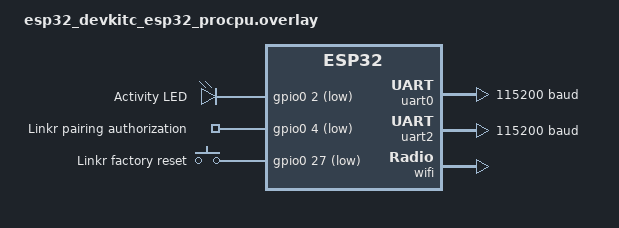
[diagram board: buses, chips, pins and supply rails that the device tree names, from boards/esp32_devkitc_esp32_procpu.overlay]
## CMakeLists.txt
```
cmake_minimum_required(VERSION 3.20.0)

# The Linkr Bee X1.0 board definition lives in boards/radxa/linkr_bee_x1_0, so
# the application root has to be searched as a board root for
# `west build -b linkr_bee_x1_0`. This has to happen before find_package(),
# which is where Zephyr resolves the board.
list(APPEND BOARD_ROOT "${CMAKE_CURRENT_SOURCE_DIR}")

# The module runs after the SoC is configured, before Zephyr collects its
# post-build commands. Keep the pinned Zephyr checkout unmodified.
list(APPEND EXTRA_ZEPHYR_MODULES "${CMAKE_CURRENT_SOURCE_DIR}/cmake/esp_simpleboot")
find_package(Zephyr REQUIRED HINTS $ENV{ZEPHYR_BASE})
project(linkr_ble_bridge)

if(CONFIG_SOC_SERIES_ESP32C3)
  include(cmake/esp32c3_hci_order.cmake)
endif()

# ESP32 (Xtensa) uses the same HCI driver; apply the same ordering fix.
if(CONFIG_SOC_SERIES_ESP32 AND NOT CONFIG_SOC_SERIES_ESP32C3)
  include(cmake/esp32c3_hci_order.cmake)
endif()

target_sources(app PRIVATE
  src/serial_session.c
  src/ble_peers.c
  src/target_binding.c
  src/bond_manager.c
  src/ble_security.c
  src/ble_nus.c
  src/ble_mgmt.c
  src/ble_uart_reliable.c
  src/main.c
  src/uart_autobaud.c
  src/uart_rmt_span.c
  src/uart_bulk_tx.c
  src/wifi.c
  src/ws_bridge.c
  # Board status LED, optocoupler switch and IR remote. Every file compiles to
  # stubs on boards whose devicetree does not describe the hardware, so the
  # command group exists everywhere and reports "unsupported" instead of the
  # firmware silently dropping the feature.
  src/ir_learn.c
  src/ir_nec.c
  src/linkr_aux.c
  src/linkr_ir.c
  src/linkr_opto.c
  src/linkr_prompt.c
  src/linkr_aiconf.c
  src/linkr_status_led.c
  src/linkr_ws2812.c
)
target_sources_ifdef(CONFIG_LINKR_BLE_BRIDGE_WATCHDOG app PRIVATE src/watchdog.c)

# HTTP service resources live in named iterable sections (WebSocket bridge).
zephyr_linker_sources(SECTIONS sections-rom.ld)
```

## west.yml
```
manifest:
  remotes:
    - name: zephyrproject-rtos
      url-base: https://github.com/zephyrproject-rtos

  projects:
    - name: zephyr
      remote: zephyrproject-rtos
      revision: v4.4.1
      import:
        name-allowlist:
          - hal_espressif
          - mbedtls
          - tf-psa-crypto
          # The ESP32-C5 controller implements its Security Manager crypto with
          # CONFIG_ESP32_BT_LE_CRYPTO_STACK_MBEDTLS, which Zephyr satisfies from
          # the legacy mbedTLS modules vendored by hostap
          # (modules/mbedtls/legacy_support.cmake). Without this module the C5
          # build fails to configure and pairing cannot be enabled at all.
          - hostap

  self:
    path: linkr-bee
```

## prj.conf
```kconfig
CONFIG_BT=y
CONFIG_BT_PERIPHERAL=y
CONFIG_BT_DEVICE_NAME="Linkr Bee"
CONFIG_BT_DEVICE_NAME_MAX=29
CONFIG_BT_DEVICE_APPEARANCE=833
CONFIG_BT_MAX_CONN=2
CONFIG_ESP32_BT_CTLR_LE_MAX_CONN=2
CONFIG_ESP32_BT_CTLR_LE_MAX_ACT=3
CONFIG_BT_ID_MAX=2
CONFIG_BT_ZEPHYR_NUS=y
# The upstream default NUS instance has unencrypted permissions. Use our
# encrypted NUS instance together with Management and Reliable UART.
CONFIG_BT_ZEPHYR_NUS_DEFAULT_INSTANCE=n
CONFIG_BT_SMP=y
CONFIG_BT_SMP_APP_PAIRING_ACCEPT=y
# Replacing a lost host key is permitted only through our GPIO1 pairing gate.
CONFIG_BT_SMP_ALLOW_UNAUTH_OVERWRITE=y
CONFIG_BT_SMP_SC_PAIR_ONLY=y
CONFIG_BT_SMP_MIN_ENC_KEY_SIZE=16
CONFIG_BT_BONDABLE=y
CONFIG_BT_BONDING_REQUIRED=y
CONFIG_BT_MAX_PAIRED=8
CONFIG_BT_KEYS_OVERWRITE_OLDEST=n
CONFIG_BT_SETTINGS=y
CONFIG_BT_GAP_AUTO_UPDATE_CONN_PARAMS=n

CONFIG_SERIAL=y
CONFIG_UART_INTERRUPT_DRIVEN=y
CONFIG_UART_USE_RUNTIME_CONFIGURE=y
# Keep LAN forwarding and log capture running after a BLE session ends on
# every board. Disconnected BLE delivery is best-effort; it cannot stall UART.
CONFIG_LINKR_BLE_BRIDGE_UART_RX_DROP_NO_CONN=y
CONFIG_GPIO=y
CONFIG_HWINFO=y

# BLE identity and Linkr configuration use Zephyr settings. Linkr ships one
# firmware containing BLE, WiFi, WebDAV, and the WebSocket bridge.
CONFIG_SETTINGS=y
CONFIG_NVS=y
CONFIG_FLASH=y
CONFIG_FLASH_MAP=y

# ESP32-C3 controller reports 12 ACL packets; match host contexts to avoid
# resource mismatch that can trigger BLE controller asserts.
CONFIG_BT_BUF_ACL_TX_COUNT=12
# Exchange a 247-byte ATT MTU and carry each 244-byte ATT value in one
# 251-byte LE Data Length packet. Reliable UART then fits its 12-byte header
# and 232-byte payload into one GATT write/indication when the central agrees.
CONFIG_BT_L2CAP_TX_MTU=247
CONFIG_BT_BUF_ACL_TX_SIZE=251
CONFIG_BT_BUF_ACL_RX_SIZE=251
CONFIG_BT_DATA_LEN_UPDATE=y
CONFIG_BT_AUTO_DATA_LEN_UPDATE=y
# WiFi coexistence increases the Bluetooth host TX call depth. The default
# 1024-byte stack can corrupt bt_tx_processor while notifications are sent.
CONFIG_BT_TX_PROCESSOR_STACK_SIZE=2048
# Management commands can save NVS settings and start/stop network services
# from the Bluetooth receive workqueue. The 1200-byte Zephyr default overflows
# on @s on while persisting the WebSocket setting.
CONFIG_BT_RX_STACK_SIZE=2048

# Increase net_mgmt event queue so WiFi connect/disconnect events are not
# dropped behind scan results.
CONFIG_NET_MGMT_EVENT_QUEUE_SIZE=20

# The ESP32 driver's fast connect scan can miss an AP that a user-initiated
# scan has just found. Scan every 2.4 GHz channel and select the strongest
# matching BSSID instead.
CONFIG_ESP32_WIFI_STA_SCAN_ALL=y

# linkr_wifi owns DHCP startup after NET_EVENT_WIFI_CONNECT_RESULT. Disable
# the driver's automatic DHCP path so that it also emits that event instead of
# silently bypassing the application's connection state machine.
CONFIG_ESP32_WIFI_STA_AUTO_DHCPV4=n

# ESP32-C3 shares RAM between WiFi and BLE. This bridge needs modest network
# throughput, so keep WiFi pools bounded and leave enough memory for BLE ACL
# traffic while scanning/connecting.
CONFIG_ESP32_WIFI_STATIC_RX_BUFFER_NUM=6
CONFIG_ESP32_WIFI_DYNAMIC_RX_BUFFER_NUM=12
CONFIG_ESP32_WIFI_DYNAMIC_TX_BUFFER_NUM=12
CONFIG_ESP32_WIFI_RX_MGMT_BUF_NUM_DEF=4
CONFIG_ESP32_WIFI_MGMT_SBUF_NUM=8

# The HTTP/WebSocket bridge uses a TCP listening socket. HTTP_SERVER enables
# the socket API but does not select the TCP transport itself.
CONFIG_NET_TCP=y
# Linkr uses DHCPv4, IPv4 WebDAV targets, and an IPv4-bound WebSocket service.
# Do not reserve IPv6 neighbor, route, and protocol state that has no consumer.
CONFIG_NET_IPV6=n

# NET_SOCKETS_SERVICE permanently owns one eventfd and the HTTP server needs a
# second one for start/stop wakeups.  The Zephyr default pool only contains one.
CONFIG_ZVFS_EVENTFD_MAX=2

CONFIG_MAIN_STACK_SIZE=4096
CONFIG_SYSTEM_WORKQUEUE_STACK_SIZE=8192

CONFIG_LOG=y
CONFIG_LOG_MODE_DEFERRED=y
CONFIG_LOG_DEFAULT_LEVEL=3

# Keep normal WiFi lifecycle messages without the verbose driver traces used
# during association debugging. A diagnostic build can override this to DBG.
CONFIG_WIFI_LOG_LEVEL_INF=y

# Fail deterministically if a thread ever exhausts its stack instead of
# returning through corrupted memory. Thread names also make fatal logs useful.
CONFIG_STACK_SENTINEL=y
CONFIG_THREAD_NAME=y
```

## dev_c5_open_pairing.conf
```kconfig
# Development only: explicitly add this fragment with EXTRA_CONF_FILE for
# ESP32-C5 DevKitC bench testing. Never include it in production builds.
# Any nearby host can pair and access UART and management services; link
# encryption, Secure Connections and bonding are still required.
CONFIG_LINKR_BLE_BRIDGE_PAIRING_GPIO_AUTH=n
```

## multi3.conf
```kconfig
# Experimental ESP32-C3 profile: runtime SRAM/WiFi acceptance still required.
CONFIG_BT_MAX_CONN=3
CONFIG_ESP32_BT_CTLR_LE_MAX_CONN=3
CONFIG_ESP32_BT_CTLR_LE_MAX_ACT=4
CONFIG_LINKR_BLE_BRIDGE_PEER_TX_QUEUE_DEPTH=8
```

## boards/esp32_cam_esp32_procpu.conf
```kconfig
# ESP32-CAM (ESP32-S module, Xtensa dual-core) board-specific overrides.
# prj.conf defaults are tuned for ESP32-C3; the classic ESP32 has the same
# dram0 + dram1 split as the WROOM-32, plus one exposed UART (UART0).
# The memory tuning below is shared with boards/esp32_devkitc_esp32_procpu.conf;
# keep the two files in step when changing DRAM-critical values.
CONFIG_LINKR_BLE_BRIDGE_WEBDAV=n

# UART0 is the bridge port on this board, not a debug port. The Zephyr console
# and the UART log backend both pick the same physical UART (chosen
# zephyr,console = &uart0 in the board DTS), so every LOG_* record was written
# on the same wire the target reads as terminal input. On this CAM that put
# bytes such as "m<inf> linkr_ble_bridge ..." into the target's shell, raced
# the bridge's bulk UART writes, and made BLE input/output look broken even
# though the bridge itself was fine. Turn both off so the bridge owns the port
# exclusively. Diagnostics stay available over BLE (@i?), and the ROM
# bootloader still prints during flashing/reset.
CONFIG_UART_CONSOLE=n
CONFIG_LOG_BACKEND_UART=n
CONFIG_BOOT_BANNER=n

# ESP32-CAM has a 2 MiB PSRAM part. Enable it and select the matching type;
# the size comes from the psram0 node in the board overlay. The WebDAV
# staging ring and upload chunk live in .ext_ram.bss (see src/wifi.c), so the
# large buffers cost PSRAM instead of the very tight internal DRAM.
CONFIG_ESP_SPIRAM=y
CONFIG_ESP_SPIRAM_SIZE=2097152
CONFIG_SPIRAM_TYPE_ESPPSRAM16=y
CONFIG_LINKR_BLE_BRIDGE_WEBDAV=y
CONFIG_LINKR_BLE_BRIDGE_LOG_RING_SIZE=262144
# 128 KiB covers ~11 s at 115200. Upload every 2 s, and PUT 16 KiB at a time
# so a burst is drained in a few HTTP requests instead of many small files.
CONFIG_LINKR_BLE_BRIDGE_WEBDAV_UPLOAD_INTERVAL_MS=2000
CONFIG_LINKR_BLE_BRIDGE_WEBDAV_UPLOAD_CHUNK=32768

# Let the peripheral start the ATT MTU exchange. A client that discovers the
# services at the 23-byte default and then writes terminal input immediately
# would otherwise have its first reliable-UART frame rejected as too long,
# which some clients treat as an ambiguous delivery and latch until reconnect.
CONFIG_BT_GATT_CLIENT=y

# Keep the reliable UART service. The shipped web client reads its STATE
# characteristic during connect and aborts with "No Services matching UUID
# 4c4b0010..." when it is absent, so removing it does not fall back to NUS --
# it makes the device unusable in that client. Instead the firmware fixes the
# states that used to wedge writes: a half-written frame, a sequence mismatch
# and a full TX queue no longer kill the session.
CONFIG_LINKR_BLE_BRIDGE_RELIABLE_UART=y

# BT ACL TX buffers. This used to be 4 to save DRAM1, but the ESP32 controller
# reports 10 available ACL packets, so Zephyr warned on every boot
# ("<wrn> bt_hci_core: Num of Controller's ACL packets != ACL bt_conn_tx
# contexts (10 != 4)"). Match the controller at 10; prj.conf ships 12.
CONFIG_BT_BUF_ACL_TX_COUNT=10

# ── M4: let the peripheral ask for a 7.5–15 ms connection interval ──────────
# prj.conf:22 ships CONFIG_BT_GAP_AUTO_UPDATE_CONN_PARAMS=n (Zephyr's own
# default is y), so this device never negotiates and the interval is whatever
# the central picked — measured steady at 37.5 ms. That interval is the
# per-ATT-write round trip for the reliable upstream path: BACKLOG A4 timed a
# write-with-response at a median of 178 ms (min 133 / max 223) = 4.75 of those
# intervals, i.e. 1.0-1.4 KiB/s upstream. Turning the auto-update back on makes
# conn.c's deferred_work() (conn.c:2297, runs 5 s after each connect, up to 3
# retries) emit a LE Connection Parameter Request carrying the values below.
#
# 6/12 are in 1.25 ms units = 7.5-15 ms, the Kconfig floor (range starts at 6).
# LATENCY is left at its default 0 — a non-zero latency multiplies this same
# round trip by (1+latency), which is the opposite of the change. TIMEOUT is
# set in its own block below.
#
# Acceptance risk to watch, not a reason to skip it: linkr_uart_write() has no
# retry — main.c:1445 refuses the whole write with -ENOMEM and counts it in
# "@info queue dropped" when the 16-deep upstream queue is full. A faster air
# rate therefore only pays off if UART (11520 B/s at 115200) keeps up, so the
# post-flash check must include a bulk upstream run and a @i? dropped= compare.
CONFIG_BT_GAP_AUTO_UPDATE_CONN_PARAMS=y
CONFIG_BT_PERIPHERAL_PREF_MIN_INT=6
CONFIG_BT_PERIPHERAL_PREF_MAX_INT=12

# ── M4b: the supervision timeout has to outlive a stalled device ────────────
# The interval above is what the link costs; TIMEOUT is how long the central
# waits for this device to show up before declaring it dead. Zephyr's default
# is 42 x 10 ms = 420 ms, and BlueZ caches it and then creates the link from
# that cache verbatim — measured directly: editing
# /var/lib/bluetooth/<adapter>/<peer>/info (`[ConnectionParameters] Timeout`)
# from 42 to 600 changed the next connection from 420 ms to 6000 ms at the
# same 15 ms interval, with no re-pair and no other change.
#
# 420 ms is shorter than a hiccup. Measured during a ZMODEM run on the desk
# unit, the last ATT data landed at 00:49:09.834 and the controller reported
# `Connection Timeout (0x08)` at 00:49:10.277 — 443 ms later, exactly the
# budget — and the earlier drop at 00:33:52 was the same shape. Two 76 s
# round trips then ran clean once the value was 6 s. Raising it here is what
# makes that fix survive the host it is plugged into, instead of depending on
# a cache line somebody edited once.
#
# 800 = 8 s, the value boards/esp32c5_devkitc_esp32c5_hpcore.conf already
# ships: the ESP32 shares its radio with WiFi too, so a scan/connect window
# silencing BLE for ~5 s must not be read as a dead link. Still clears the
# spec floor for this interval range (> (1+latency) * max_interval * 2 =
# 30 ms; Kconfig.gatt:56) and the 32 s ceiling. What it costs: a link that
# really is gone is only reported dead after 8 s instead of 0.42 s, and a
# Linux host keeps the old value in that info file until the cache is
# refreshed — re-pair (or delete the cache entry) after flashing.
#
# ⚠ This one line fixes THIS board only, and the other boards need it too.
# `esp32c3_supermini`, `esp32c3_devkitc` and `esp32c3_devkitm` still ship
# Zephyr's default 42 = 420 ms, CI builds all three, and a file transfer is
# exactly the traffic that does not survive it: ZMODEM is a sustained bulk
# burst, the device spends it writing UART at 115200, and any window over
# 420 ms in which it does not answer a connection event is reported as
# `Connection Timeout (0x08)` with the link gone mid-transfer. Measured here
# on this board before the fix — last ATT data 00:49:09.834, disconnect
# 00:49:10.277, i.e. 443 ms later — and the same value now reads
# `Supervision timeout: 8000 msec (0x0320)` after the flash. The C3 rows are
# deliberately left untouched by this change because only WROOM-32 was
# measured end to end; the fix for them is the same single line, and it
# should be verified there the same way (a ZMODEM round trip twice in a row)
# rather than assumed from this board's result.
CONFIG_BT_PERIPHERAL_PREF_TIMEOUT=800

# Report heap headroom in "@i?" ("@info heap free=… used=… peak=…"). The system
# heap is DRAM0's largest single allocation and had no runtime report, so
# sizing HEAP_MEM_POOL_SIZE was guesswork. Costs code size only, no RAM.
CONFIG_SYS_HEAP_RUNTIME_STATS=y

# ESP32 WiFi pools — conservative to fit DRAM0.
CONFIG_ESP32_WIFI_STATIC_RX_BUFFER_NUM=5
CONFIG_ESP32_WIFI_DYNAMIC_RX_BUFFER_NUM=8
CONFIG_ESP32_WIFI_DYNAMIC_TX_BUFFER_NUM=8
CONFIG_ESP32_WIFI_RX_MGMT_BUF_NUM_DEF=3
CONFIG_ESP32_WIFI_MGMT_SBUF_NUM=6

# ── The cap that actually held LAN concurrency at one client (BACKLOG M10) ───
# Not a cut — 4 is Zephyr's own `default 4` and the C3 build ships it too — but
# raising WS_BRIDGE_MAX_CLIENTS to 2 on its own does nothing, and the failure is
# silent from the app's point of view. Two places in Zephyr clamp on it:
#
#   tcp.c:3780        if (backlog > CONFIG_NET_MAX_CONN) backlog = CONFIG_NET_MAX_CONN;
#   connection.c:404  conn_get_unused() == NULL -> -ENOENT,
#                     "Not enough connection contexts. Consider increasing CONFIG_NET_MAX_CONN."
#
# A raw TCP probe made this concrete: exactly one connection to :80 succeeded,
# the second was refused with ECONNREFUSED at the SYN — before any HTTP slot was
# ever considered — and closing the first immediately freed the slot again. That
# is 4 conn entries minus listen + WiFi/DNS UDP bindings leaving room for one.
# 8 is Zephyr's `default 8 if NET_IPV6 && NET_IPV4`. Cost: conns[] is 176 B for
# 4 entries (44 B each) in DRAM0, so 4->8 is +176 B.
CONFIG_NET_MAX_CONN=8

# Thread stacks — reduced for the DRAM1 noinit budget (only 6772B free once
# the three drop-point buffers were restored). Restored where stack risk
# outweighed cost: MAIN and BT_TX_PROCESSOR back to prj.conf's 4096/2048.
# SYSTEM_WORKQUEUE stays 4096 (prj.conf wants 8192) because +4096 would not
# fit alongside these two; BT_RX / WIFI_CONNECT stay at their reduced 2048.
CONFIG_MAIN_STACK_SIZE=4096
CONFIG_SYSTEM_WORKQUEUE_STACK_SIZE=4096
CONFIG_BT_TX_PROCESSOR_STACK_SIZE=2048
CONFIG_BT_RX_STACK_SIZE=2048
CONFIG_LINKR_BLE_BRIDGE_WIFI_CONNECT_STACK=2048

# ── Not a cut: M3's one measured reboot risk (BACKLOG M3/M10) ────────────────
# BT long workqueue 1400 -> 2048. 1400 is Zephyr's default and C3 uses it too,
# but M3 measured it at 83% used / 236 B unused, holding steady across all 12
# reports while burning 41% CPU on real BLE traffic. Unlike the logging stack
# (analyzer artifact, see M3), this number does not move with load, so 236 B is
# what is left for a deeper nest in bt_conn/bt_adv — an overflow here reboots
# the device mid-connection. +648 B DRAM1 (bt_lw_stack_area 1408 -> 2056).
# The other two stacks M3 flagged are deliberately NOT grown: logging's 91% is
# self-inflicted by LOG_PRINTK routing analyzer reports through it (28% before
# the first report) and ble_to_uart's 1024 is hardcoded in src/main.c:1780.
CONFIG_BT_LONG_WQ_STACK_SIZE=2048

# UART RX ring: restored to the C3 baseline 16384 (~1.44 s at 115200, up from
# 8192 / ~720 ms). This is the buffer that holds what the user actually
# watches — Kconfig's own help: "Larger values reduce dropped boot-log bytes
# when the SBC emits a burst faster than BLE can transmit."
#
# ⚠ This is paid for out of DRAM0, not out of "DRAM1 noinit", and the reason
# this note used to give for the opposite is not sound. It said the earlier
# note about DRAM1 noinit was stale because `nm uart_rx_storage` lands at a
# DRAM0 address (0x3ffc…). But `nm` can only see the name this change
# introduces, and this change is what puts it in DRAM0 — so that reading
# cannot say anything about where the array used to live. The array it
# replaced (`_ring_buffer_data_uart_rx_ring`) came from RING_BUF_DECLARE and
# was `__noinit`, and the ESP32 linker script links the output section
# `.dram0.noinit` — despite the name — into `dram1_0_seg` at 0x3ffe8000. The
# built map spells both regions out:
#
#   dram0_0_seg   0x3ffbdb5c   0x000224a4   (140452 B)   .bss/.data
#   dram1_0_seg   0x3ffe8000   0x00018000   ( 98304 B)   .dram0.noinit
#
# A sibling RING_BUF_DECLARE in the same build confirms it end to end: the
# WebDAV log ring's backing array sits at 0x3ffff140, i.e. inside dram1. So
# the old note was right and this change spends DRAM0. Measured with
# `west build -p always -b esp32_devkitc/esp32/procpu` on this tree, against
# the same board and app at 90285d5:
#
#   dram0_0_seg  112556 / 140452 B (80.14%, 27896 B free)  ->  138388 (98.53%, 2064 B free)
#   dram1_0_seg   89052 /  98304 B (90.59%,  9252 B free)  ->   95040 (96.68%, 3264 B free)
#   FLASH          834080 / 4194048 B (19.89%)             ->  838864 (20.00%)
#
# (DRAM1 grows over this range too, but not from these buffers: the baseline
# restore raises CONFIG_BT_*_TX_COUNT 4->10 and several stacks, and those are
# what lands in noinit. DRAM0 was the region with more headroom before the
# change — 27896 B free against DRAM1's 9252 — it is the one these buffers
# spend, and it ends the PR 2 KB from not linking.)
# Trade-off recorded in BACKLOG M6/M9: LOG_BUFFER_SIZE 1024→8192 (+7168 DRAM0)
# cannot ride along — 8192+7168 = 15360 > 14288. The ring won because the
# SBC serial stream is the product; the log buffer only loses firmware
# diagnostics (measured: 27 records per 15 s at 1024).
# 14336 rather than 16384: the decoupled BLE queue below takes 8 x 234 B
# (1872 B) out of the same DRAM0 .bss. 14 KiB is still 1.24 s at 115200, and
# the UART thread no longer stops draining while an indication waits.
CONFIG_LINKR_BLE_BRIDGE_UART_RX_BUFFER_SIZE=20480

# The single UART-to-BLE thread used to block in the Reliable UART
# indication, so a slow phone also starved a LAN-only TUI/Web client. Stage
# the BLE copy in a small queue and send it from its own thread; the UART ring
# keeps draining. If the queue fills, the sender disconnects the central after
# the in-flight chunk so it resynchronises instead of losing a sequence number.
CONFIG_LINKR_BLE_BRIDGE_BLE_TX_DECOUPLE=y

# Upstream packet queue (BLE/WS RX -> UART): Kconfig default 8 overruns when
# UART is busy; 16 costs +1968B (246B per bridge_packet). Those 1968 B are
# DRAM0, not "DRAM1 noinit": the same change replaces K_MSGQ_DEFINE's
# __noinit store with a .bss one in src/main.c (see the comment on
# ble_to_uart_storage there), and .bss is dram0_0_seg. The queue's storage
# therefore also migrated regions, which is why the DRAM0 line in the measured
# pair above moves by more than the buffer sizes alone suggest.
CONFIG_LINKR_BLE_BRIDGE_BLE_TO_UART_QUEUE_DEPTH=32

# BACKLOG M5: the bridge can follow the SBC instead of making it match us.
# The board ships UART_BAUD_RATE=115200 while Kconfig's own help lists 1500000
# / 921600 / 1000000 as typical SBC console rates, so a console swap is a
# mismatch waiting to happen. The RMT receiver measures a whole burst of runs
# on RXD (see src/uart_rmt_span.c), software decides what to apply. Keep this
# opt-in in the committed build; the local validation unit enables it through
# an out-of-tree EXTRA_CONF_FILE. The ESP32-CAM has no key, so only @a can
# start a pass; the detector never follows the line at boot.
CONFIG_LINKR_BLE_BRIDGE_UART_AUTOBAUD=n

# Fill the UART FIFO in one write instead of one byte per uart_poll_out().
# The poll_out path writes a byte at a time, and its whole body on this part is
# 50 bytes of code with the FIFO-full spin inside it:
#
#     c: l32i.n  a8, a9, 28     ; read UART status
#    1b: extui   a8, a8, 16, 8  ; txfifo_cnt
#    1e: beqi    a8, 128, c     ; FIFO full -> re-read, forever
#
# The FIFO is 128 bytes and a BLE packet is up to 244, so every full packet is
# 244 trips through that function (plus ~8 instructions of caller scaffolding
# each): 244 api calls, 244 status reads, 244 single-byte writes, 116 of them
# spinning. The bulk writer offers the FIFO everything it can take per call, so
# that per-packet overhead drops from 244 round trips to a handful.
#
# What this is NOT: a faster port. A 244-byte packet is 21.2 ms of line time at
# 115200 and no firmware change moves that — 11520 B/s is the link's ceiling.
# The win is the CPU spent on bookkeeping around the wire, nothing more. The
# bridge thread is priority 7 (preemptive) and the BLE threads are -1
# (cooperative), i.e. higher priority in Zephyr's ordering, so they preempt it
# rather than the reverse; this change is not needed to keep them fed.
#
# ⚠ Enable only together with a transfer test: it is a change on a live TX
# path, and a stall there would show up as a hang, not in `@info queue
# dropped`, which only counts the queue in front of the UART.
CONFIG_LINKR_BLE_BRIDGE_UART_BULK_TX=y

# Log level: WARN, not the ERR-only setting this board shipped with while it
# was memory constrained. Log strings live in flash (irom/drom were 96% free)
# and the deferred log buffer stays at its existing size, so this costs no
# DRAM — but it makes the upstream drop report (LOG_WRN in linkr_uart_write)
# visible again instead of silent.
CONFIG_LOG_DEFAULT_LEVEL=2
CONFIG_WIFI_LOG_LEVEL_ERR=y

# Allow chip revision 1 (unsupported by Espressif but functional).
CONFIG_ESP32_USE_UNSUPPORTED_REVISION=y

# The ESP32-CAM has no pairing key. Keep the GPIO gate off; a build that wires
# a key to a free pin can add a linkr-pairing alias and set this to y. Existing
# bonds reconnect through the saved LTK either way.
CONFIG_LINKR_BLE_BRIDGE_PAIRING_GPIO_AUTH=n

# Advertise Linkr Bee XXXX, where XXXX is the last four hex digits of the
# factory hardware MAC (for example 58:BF:25:33:07:8C -> 078C). The hardware
# MAC does not change across boots or a factory reset; @n can override the name.
CONFIG_LINKR_BLE_BRIDGE_BLE_NAME_FROM_MAC=y

# Persist WiFi credentials and BLE bonds across reboots.
CONFIG_LINKR_BLE_BRIDGE_PERSIST_CREDENTIALS=y

# Bypass ESP32 WiFi/BT heap auto-sum check.
# System heap stays at 52000: raising it to 65536 bought 13.5KB of speculative
# runtime slack (no OOM evidence either way) but it was DRAM0 that had to pay
# for relocating the queue and ring stores out of DRAM1, and DRAM1 was the
# region at 98% with every pending restoration (WiFi pools, system workqueue,
# ACL count) waiting on it. Re-measure runtime heap usage before raising this.
CONFIG_HEAP_MEM_POOL_SIZE=49152
CONFIG_HEAP_MEM_POOL_IGNORE_MIN=y

# HTTP server — two concurrent clients, not one. This was cut to 1 to fit
# DRAM0, and M3/BACKLOG M10 established that it is a HARD limit rather than a
# queue: Zephyr's http server hands each accepted socket a slot from a static
# clients[] array and, when the slots run out, does
#
#     if (!found_slot) { LOG_DBG("No free slot found."); zsock_close(new_socket); }
#
# (http_server_core.c, in the accept branch). So a second browser tab, or the
# Rust CLI while the web frontend is open, is accepted and then instantly
# dropped. HTTP_SERVER_MAX_CLIENTS and WEBSOCKET_MAX_CONTEXTS both default to
# this value (Kconfig:417/420), so one line moves all three — no separate knobs.
#
# Cost taken off the ELF before the change: clients[] 2160 (holds the per-client
# tx_buf), contexts[] 888, server_ctx 1392 (its clients[] and fds[] both grow),
# ws_handler_threads 160 => +5580 DRAM0, plus ws_client_stacks 4096 -> 8192 in
# DRAM1. See BACKLOG M10 for the measured post-build margins. Consequence to
# keep in mind: DRAM0 is now spent, so LOG_BUFFER_SIZE 1024 -> 8192 (+7168) —
# the one cut with hard evidence of loss (27 records / 15 s) — still cannot
# land here and would have to reclaim first.
CONFIG_LINKR_BLE_BRIDGE_WS_BRIDGE_MAX_CLIENTS=2
# Per-client WS thread stack: this Kconfig's own default is 4096 and the
# board used to halve it to 2048 for DRAM1; restored to 4096 (+2048 DRAM1)
# because a stack overflow here reboots the device.
CONFIG_LINKR_BLE_BRIDGE_WS_BRIDGE_STACK=8192
# Per-client TX ring: Kconfig default 2048 (downlink window ~178ms at
# 115200); the 1024 setting halved it. clients[] lives in DRAM0 .bss, which
# had 27896B free at baseline, so this costs +1024B there.
CONFIG_LINKR_BLE_BRIDGE_WS_BRIDGE_CLIENT_BUFFER_SIZE=2048
CONFIG_LINKR_BLE_BRIDGE_MGMT_TX_QUEUE_DEPTH=16
# Management request stack: back to the C3 baseline / Kconfig default 4096.
# @i? / @s? / @w? / @d? all run on this thread; 2048 was a DRAM1 cut and M3
# never measured it (the 1024 B log buffer truncated the watermark report), so
# restore on the side of safety: a stack overflow here would take out command
# handling. +2048 DRAM1 -> 8000 B free.
CONFIG_LINKR_BLE_BRIDGE_MGMT_REQUEST_STACK=4096

# With the WS stacks and queue backing stores in PSRAM, DRAM1 has room for the
# Bluetooth host and management stacks. These were the tightest consumers on
# the path that used to drop links under load; give them measured headroom
# instead of spending the freed space on another buffer.
CONFIG_BT_RX_STACK_SIZE=4096
CONFIG_BT_HCI_TX_STACK_SIZE_WITH_PROMPT=y
CONFIG_BT_HCI_TX_STACK_SIZE=2048
CONFIG_LOG_PROCESS_THREAD_STACK_SIZE=2048
CONFIG_LINKR_BLE_BRIDGE_MGMT_REQUEST_STACK=6144

# The hardware fallback fired during WiFi/BLE startup on this board (reset
# cause 0x8) even though the per-task channels had not expired. The hardware
# watchdog timeout is TASK_WDT_MIN_TIMEOUT (5 s) + this delay; use the largest
# supported delay (10 s, so 15 s total) instead of the 5 s default.
CONFIG_TASK_WDT_HW_FALLBACK_DELAY=10000

# Ask web/TUI clients to use NUS on this board. The reliable service stays
# compiled so old clients still connect, but the advertised capability lets a
# dual-transport client choose the raw pipe without guessing from the name.
CONFIG_LINKR_BLE_BRIDGE_PREFER_NUS=y
```

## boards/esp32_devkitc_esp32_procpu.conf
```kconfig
# ESP32-DevKitC (Xtensa dual-core) board-specific overrides.
#
# Novice-PG self-maintained WROOM configuration. Version numbers track the
# official release line, but this board's buffers restore the pre-1.1.5 sizes;
# see docs/SELF-MAINTAINED.md. Other boards are not affected.
#
# Zephyr 4.5 uses 8 KiB UART capture, eight queued chunks per BLE peer, and
# 2 KiB per LAN client on this self-maintained build. Historical 4.4 memory
# measurements below describe the earlier larger buffers; runtime
# burst/coexistence validation is still needed.
# prj.conf defaults are tuned for ESP32-C3; Xtensa ESP32 has different DRAM
# layout (dram0 + dram1) and needs tighter buffer limits.

# Disable WebDAV to save ~12KB noinit (LOG_RING + UPLOAD_STACK).
CONFIG_LINKR_BLE_BRIDGE_WEBDAV=n

# BT ACL TX buffers. This used to be 4 to save DRAM1, but the ESP32 controller
# reports 10 available ACL packets, so Zephyr warned on every boot
# ("<wrn> bt_hci_core: Num of Controller's ACL packets != ACL bt_conn_tx
# contexts (10 != 4)"). Match the controller at 10; prj.conf ships 12.
CONFIG_BT_BUF_ACL_TX_COUNT=10

# ── M4: let the peripheral ask for a 7.5–15 ms connection interval ──────────
# prj.conf:22 ships CONFIG_BT_GAP_AUTO_UPDATE_CONN_PARAMS=n (Zephyr's own
# default is y), so this device never negotiates and the interval is whatever
# the central picked — measured steady at 37.5 ms. That interval is the
# per-ATT-write round trip for the reliable upstream path: BACKLOG A4 timed a
# write-with-response at a median of 178 ms (min 133 / max 223) = 4.75 of those
# intervals, i.e. 1.0-1.4 KiB/s upstream. Turning the auto-update back on makes
# conn.c's deferred_work() (conn.c:2297, runs 5 s after each connect, up to 3
# retries) emit a LE Connection Parameter Request carrying the values below.
#
# 6/12 are in 1.25 ms units = 7.5-15 ms, the Kconfig floor (range starts at 6).
# LATENCY is left at its default 0 — a non-zero latency multiplies this same
# round trip by (1+latency), which is the opposite of the change. TIMEOUT is
# set in its own block below.
#
# Acceptance risk to watch, not a reason to skip it: linkr_uart_write() has no
# retry — main.c:1445 refuses the whole write with -ENOMEM and counts it in
# "@info queue dropped" when the 16-deep upstream queue is full. A faster air
# rate therefore only pays off if UART (11520 B/s at 115200) keeps up, so the
# post-flash check must include a bulk upstream run and a @i? dropped= compare.
CONFIG_BT_GAP_AUTO_UPDATE_CONN_PARAMS=y
CONFIG_BT_PERIPHERAL_PREF_MIN_INT=6
CONFIG_BT_PERIPHERAL_PREF_MAX_INT=12

# ── M4b: the supervision timeout has to outlive a stalled device ────────────
# The interval above is what the link costs; TIMEOUT is how long the central
# waits for this device to show up before declaring it dead. Zephyr's default
# is 42 x 10 ms = 420 ms, and BlueZ caches it and then creates the link from
# that cache verbatim — measured directly: editing
# /var/lib/bluetooth/<adapter>/<peer>/info (`[ConnectionParameters] Timeout`)
# from 42 to 600 changed the next connection from 420 ms to 6000 ms at the
# same 15 ms interval, with no re-pair and no other change.
#
# 420 ms is shorter than a hiccup. Measured during a ZMODEM run on the desk
# unit, the last ATT data landed at 00:49:09.834 and the controller reported
# `Connection Timeout (0x08)` at 00:49:10.277 — 443 ms later, exactly the
# budget — and the earlier drop at 00:33:52 was the same shape. Two 76 s
# round trips then ran clean once the value was 6 s. Raising it here is what
# makes that fix survive the host it is plugged into, instead of depending on
# a cache line somebody edited once.
#
# 800 = 8 s, the value boards/esp32c5_devkitc_esp32c5_hpcore.conf already
# ships: the ESP32 shares its radio with WiFi too, so a scan/connect window
# silencing BLE for ~5 s must not be read as a dead link. Still clears the
# spec floor for this interval range (> (1+latency) * max_interval * 2 =
# 30 ms; Kconfig.gatt:56) and the 32 s ceiling. What it costs: a link that
# really is gone is only reported dead after 8 s instead of 0.42 s, and a
# Linux host keeps the old value in that info file until the cache is
# refreshed — re-pair (or delete the cache entry) after flashing.
#
# ⚠ This one line fixes THIS board only, and the other boards need it too.
# `esp32c3_supermini`, `esp32c3_devkitc` and `esp32c3_devkitm` still ship
# Zephyr's default 42 = 420 ms, CI builds all three, and a file transfer is
# exactly the traffic that does not survive it: ZMODEM is a sustained bulk
# burst, the device spends it writing UART at 115200, and any window over
# 420 ms in which it does not answer a connection event is reported as
# `Connection Timeout (0x08)` with the link gone mid-transfer. Measured here
# on this board before the fix — last ATT data 00:49:09.834, disconnect
# 00:49:10.277, i.e. 443 ms later — and the same value now reads
# `Supervision timeout: 8000 msec (0x0320)` after the flash. The C3 rows are
# deliberately left untouched by this change because only WROOM-32 was
# measured end to end; the fix for them is the same single line, and it
# should be verified there the same way (a ZMODEM round trip twice in a row)
# rather than assumed from this board's result.
CONFIG_BT_PERIPHERAL_PREF_TIMEOUT=800

# Report heap headroom in "@i?" ("@info heap free=… used=… peak=…"). The system
# heap is DRAM0's largest single allocation and had no runtime report, so
# sizing HEAP_MEM_POOL_SIZE was guesswork. Costs code size only, no RAM.
CONFIG_SYS_HEAP_RUNTIME_STATS=y

# ESP32 WiFi pools — conservative to fit DRAM0.
CONFIG_ESP32_WIFI_STATIC_RX_BUFFER_NUM=5
CONFIG_ESP32_WIFI_DYNAMIC_RX_BUFFER_NUM=8
CONFIG_ESP32_WIFI_DYNAMIC_TX_BUFFER_NUM=8
CONFIG_ESP32_WIFI_RX_MGMT_BUF_NUM_DEF=3
CONFIG_ESP32_WIFI_MGMT_SBUF_NUM=6

# ── The cap that actually held LAN concurrency at one client (BACKLOG M10) ───
# Not a cut — 4 is Zephyr's own `default 4` and the C3 build ships it too — but
# raising WS_BRIDGE_MAX_CLIENTS to 2 on its own does nothing, and the failure is
# silent from the app's point of view. Two places in Zephyr clamp on it:
#
#   tcp.c:3780        if (backlog > CONFIG_NET_MAX_CONN) backlog = CONFIG_NET_MAX_CONN;
#   connection.c:404  conn_get_unused() == NULL -> -ENOENT,
#                     "Not enough connection contexts. Consider increasing CONFIG_NET_MAX_CONN."
#
# A raw TCP probe made this concrete: exactly one connection to :80 succeeded,
# the second was refused with ECONNREFUSED at the SYN — before any HTTP slot was
# ever considered — and closing the first immediately freed the slot again. That
# is 4 conn entries minus listen + WiFi/DNS UDP bindings leaving room for one.
# 8 is Zephyr's `default 8 if NET_IPV6 && NET_IPV4`. Cost: conns[] is 176 B for
# 4 entries (44 B each) in DRAM0, so 4->8 is +176 B.
CONFIG_NET_MAX_CONN=8

# Thread stacks — reduced for the DRAM1 noinit budget (only 6772B free once
# the three drop-point buffers were restored). Restored where stack risk
# outweighed cost: MAIN and BT_TX_PROCESSOR back to prj.conf's 4096/2048.
# SYSTEM_WORKQUEUE stays 4096 (prj.conf wants 8192) because +4096 would not
# fit alongside these two; BT_RX / WIFI_CONNECT stay at their reduced 2048.
CONFIG_MAIN_STACK_SIZE=4096
CONFIG_SYSTEM_WORKQUEUE_STACK_SIZE=4096
CONFIG_BT_TX_PROCESSOR_STACK_SIZE=2048
CONFIG_BT_RX_STACK_SIZE=2048
CONFIG_LINKR_BLE_BRIDGE_WIFI_CONNECT_STACK=2048

# ── Not a cut: M3's one measured reboot risk (BACKLOG M3/M10) ────────────────
# BT long workqueue 1400 -> 2048. 1400 is Zephyr's default and C3 uses it too,
# but M3 measured it at 83% used / 236 B unused, holding steady across all 12
# reports while burning 41% CPU on real BLE traffic. Unlike the logging stack
# (analyzer artifact, see M3), this number does not move with load, so 236 B is
# what is left for a deeper nest in bt_conn/bt_adv — an overflow here reboots
# the device mid-connection. +648 B DRAM1 (bt_lw_stack_area 1408 -> 2056).
# The other two stacks M3 flagged are deliberately NOT grown: logging's 91% is
# self-inflicted by LOG_PRINTK routing analyzer reports through it (28% before
# the first report) and ble_to_uart's 1024 is hardcoded in src/main.c:1780.
CONFIG_BT_LONG_WQ_STACK_SIZE=2048

# Multi-client capture no longer waits on confirmed BLE indications. Use a
# 4096-byte IRQ scheduling buffer plus eight queued chunks per BLE peer, so
# two clients fit without reducing encryption, network features or stack sizes.
# Slow-peer queues are bounded; runtime burst/coexistence tests remain required.
# The historical DRAM placement notes below still apply.
#
# ⚠ This is paid for out of DRAM0, not out of "DRAM1 noinit", and the reason
# this note used to give for the opposite is not sound. It said the earlier
# note about DRAM1 noinit was stale because `nm uart_rx_storage` lands at a
# DRAM0 address (0x3ffc…). But `nm` can only see the name this change
# introduces, and this change is what puts it in DRAM0 — so that reading
# cannot say anything about where the array used to live. The array it
# replaced (`_ring_buffer_data_uart_rx_ring`) came from RING_BUF_DECLARE and
# was `__noinit`, and the ESP32 linker script links the output section
# `.dram0.noinit` — despite the name — into `dram1_0_seg` at 0x3ffe8000. The
# built map spells both regions out:
#
#   dram0_0_seg   0x3ffbdb5c   0x000224a4   (140452 B)   .bss/.data
#   dram1_0_seg   0x3ffe8000   0x00018000   ( 98304 B)   .dram0.noinit
#
# A sibling RING_BUF_DECLARE in the same build confirms it end to end: the
# WebDAV log ring's backing array sits at 0x3ffff140, i.e. inside dram1. So
# the old note was right and this change spends DRAM0. Measured with
# `west build -p always -b esp32_devkitc/esp32/procpu` on this tree, against
# the same board and app at 90285d5:
#
#   dram0_0_seg  112556 / 140452 B (80.14%, 27896 B free)  ->  138388 (98.53%, 2064 B free)
#   dram1_0_seg   89052 /  98304 B (90.59%,  9252 B free)  ->   95040 (96.68%, 3264 B free)
#   FLASH          834080 / 4194048 B (19.89%)             ->  838864 (20.00%)
#
# (DRAM1 grows over this range too, but not from these buffers: the baseline
# restore raises CONFIG_BT_*_TX_COUNT 4->10 and several stacks, and those are
# what lands in noinit. DRAM0 was the region with more headroom before the
# change — 27896 B free against DRAM1's 9252 — it is the one these buffers
# spend, and it ends the PR 2 KB from not linking.)
# Trade-off recorded in BACKLOG M6/M9: LOG_BUFFER_SIZE 1024→8192 (+7168 DRAM0)
# cannot ride along — 8192+7168 = 15360 > 14288. The ring won because the
# SBC serial stream is the product; the log buffer only loses firmware
# diagnostics (measured: 27 records per 15 s at 1024).
CONFIG_LINKR_BLE_BRIDGE_UART_RX_BUFFER_SIZE=8192
# 2026-11-05 self-maintained: 4 -> 8 chunks per peer (+1,920 B DRAM0 for the two
# BLE peers). The BLE link is the slowest path (measured ~1.0-1.4 KiB/s
# upstream), so this doubles the burst a phone or Windows host can absorb
# before the oldest chunk is dropped: about 0.7 s -> 1.4 s. It remains a
# bounded drop-and-count queue; output that stays faster than the link still
# drops, which is the intended behaviour in linkr_ble_feed().
CONFIG_LINKR_BLE_BRIDGE_PEER_TX_QUEUE_DEPTH=8

# Upstream packet queue (BLE/WS RX -> UART): Kconfig default 8 overruns when
# UART is busy; 16 costs +1968B (246B per bridge_packet). Those 1968 B are
# DRAM0, not "DRAM1 noinit": the same change replaces K_MSGQ_DEFINE's
# __noinit store with a .bss one in src/main.c (see the comment on
# ble_to_uart_storage there), and .bss is dram0_0_seg. The queue's storage
# therefore also migrated regions, which is why the DRAM0 line in the measured
# pair above moves by more than the buffer sizes alone suggest.
CONFIG_LINKR_BLE_BRIDGE_BLE_TO_UART_QUEUE_DEPTH=16

# BACKLOG M5: the bridge can follow the SBC instead of making it match us.
# The board ships UART_BAUD_RATE=115200 while Kconfig's own help lists 1500000
# / 921600 / 1000000 as typical SBC console rates, so a console swap is a
# mismatch waiting to happen. The RMT receiver measures a whole burst of runs
# on RXD (see src/uart_rmt_span.c), software decides what to apply. Keep this
# opt-in in the committed build; the local validation unit enables it through
# an out-of-tree EXTRA_CONF_FILE. When enabled, the detector stays idle until
# @a or the GPIO13 key starts one pass; it never follows the line at boot.
CONFIG_LINKR_BLE_BRIDGE_UART_AUTOBAUD=n

# Fill the UART FIFO in one write instead of one byte per uart_poll_out().
# The poll_out path writes a byte at a time, and its whole body on this part is
# 50 bytes of code with the FIFO-full spin inside it:
#
#     c: l32i.n  a8, a9, 28     ; read UART status
#    1b: extui   a8, a8, 16, 8  ; txfifo_cnt
#    1e: beqi    a8, 128, c     ; FIFO full -> re-read, forever
#
# The FIFO is 128 bytes and a BLE packet is up to 244, so every full packet is
# 244 trips through that function (plus ~8 instructions of caller scaffolding
# each): 244 api calls, 244 status reads, 244 single-byte writes, 116 of them
# spinning. The bulk writer offers the FIFO everything it can take per call, so
# that per-packet overhead drops from 244 round trips to a handful.
#
# What this is NOT: a faster port. A 244-byte packet is 21.2 ms of line time at
# 115200 and no firmware change moves that — 11520 B/s is the link's ceiling.
# The win is the CPU spent on bookkeeping around the wire, nothing more. The
# bridge thread is priority 7 (preemptive) and the BLE threads are -1
# (cooperative), i.e. higher priority in Zephyr's ordering, so they preempt it
# rather than the reverse; this change is not needed to keep them fed.
#
# ⚠ Enable only together with a transfer test: it is a change on a live TX
# path, and a stall there would show up as a hang, not in `@info queue
# dropped`, which only counts the queue in front of the UART.
CONFIG_LINKR_BLE_BRIDGE_UART_BULK_TX=y

# Log level: WARN, not the ERR-only setting this board shipped with while it
# was memory constrained. Log strings live in flash (irom/drom were 96% free)
# and the deferred log buffer stays at its existing size, so this costs no
# DRAM — but it makes the upstream drop report (LOG_WRN in linkr_uart_write)
# visible again instead of silent.
CONFIG_LOG_DEFAULT_LEVEL=2
CONFIG_WIFI_LOG_LEVEL_ERR=y

# Allow chip revision 1 (unsupported by Espressif but functional).
CONFIG_ESP32_USE_UNSUPPORTED_REVISION=y

# GPIO4 is reserved as an optional pairing key, but the default WROOM build
# does not require a physical press. Set this to y to require GPIO4 before a
# new host pairs; existing bonds reconnect through the saved LTK either way.
CONFIG_LINKR_BLE_BRIDGE_PAIRING_GPIO_AUTH=n

# Advertise Linkr Bee XXXX, where XXXX is the last four hex digits of the
# factory hardware MAC (for example 58:BF:25:33:07:8C -> 078C). The hardware
# MAC does not change across boots or a factory reset; @n can override the name.
CONFIG_LINKR_BLE_BRIDGE_BLE_NAME_FROM_MAC=y

# Persist WiFi credentials and BLE bonds across reboots.
CONFIG_LINKR_BLE_BRIDGE_PERSIST_CREDENTIALS=y

# Bypass ESP32 WiFi/BT heap auto-sum check.
# System heap stays at 52000: raising it to 65536 bought 13.5KB of speculative
# runtime slack (no OOM evidence either way) but it was DRAM0 that had to pay
# for relocating the queue and ring stores out of DRAM1, and DRAM1 was the
# region at 98% with every pending restoration (WiFi pools, system workqueue,
# ACL count) waiting on it. Re-measure runtime heap usage before raising this.
CONFIG_HEAP_MEM_POOL_SIZE=52000
CONFIG_HEAP_MEM_POOL_IGNORE_MIN=y

# HTTP server — two concurrent clients, not one. This was cut to 1 to fit
# DRAM0, and M3/BACKLOG M10 established that it is a HARD limit rather than a
# queue: Zephyr's http server hands each accepted socket a slot from a static
# clients[] array and, when the slots run out, does
#
#     if (!found_slot) { LOG_DBG("No free slot found."); zsock_close(new_socket); }
#
# (http_server_core.c, in the accept branch). So a second browser tab, or the
# Rust CLI while the web frontend is open, is accepted and then instantly
# dropped. HTTP_SERVER_MAX_CLIENTS and WEBSOCKET_MAX_CONTEXTS both default to
# this value (Kconfig:417/420), so one line moves all three — no separate knobs.
#
# Cost taken off the ELF before the change: clients[] 2160 (holds the per-client
# tx_buf), contexts[] 888, server_ctx 1392 (its clients[] and fds[] both grow),
# ws_handler_threads 160 => +5580 DRAM0, plus ws_client_stacks 4096 -> 8192 in
# DRAM1. See BACKLOG M10 for the measured post-build margins. Consequence to
# keep in mind: DRAM0 is now spent, so LOG_BUFFER_SIZE 1024 -> 8192 (+7168) —
# the one cut with hard evidence of loss (27 records / 15 s) — still cannot
# land here and would have to reclaim first.
CONFIG_LINKR_BLE_BRIDGE_WS_BRIDGE_MAX_CLIENTS=2
# Per-client WS thread stack: this Kconfig's own default is 4096 and the
# board used to halve it to 2048 for DRAM1; restored to 4096 (+2048 DRAM1)
# because a stack overflow here reboots the device.
CONFIG_LINKR_BLE_BRIDGE_WS_BRIDGE_STACK=3072
# Per-client TX ring: back to the Kconfig default 2048 (+2,048 B DRAM0 for two
# clients). At 115200 the ring holds about 178 ms of line time instead of
# about 89 ms, so a browser tab that stalls while rendering loses less of the
# oldest output. It is still a drop-oldest ring: a tab that sleeps for seconds
# will still miss data.
CONFIG_LINKR_BLE_BRIDGE_WS_BRIDGE_CLIENT_BUFFER_SIZE=2048
CONFIG_LINKR_BLE_BRIDGE_MGMT_TX_QUEUE_DEPTH=16
# Management request stack: back to the C3 baseline / Kconfig default 4096.
# @i? / @s? / @w? / @d? all run on this thread; 2048 was a DRAM1 cut and M3
# never measured it (the 1024 B log buffer truncated the watermark report), so
# restore on the side of safety: a stack overflow here would take out command
# handling. +2048 DRAM1 -> 8000 B free.
CONFIG_LINKR_BLE_BRIDGE_MGMT_REQUEST_STACK=4096
```

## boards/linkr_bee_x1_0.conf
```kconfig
# Linkr Bee X1.0 (MV013): SW1 on GPIO3 is the pairing / factory-reset key.
CONFIG_LINKR_BLE_BRIDGE_PAIRING_GPIO_AUTH=y

# Every board advertises Linkr Bee XXXX; XXXX is the last four hex digits of
# the factory hardware MAC. @n can replace the whole name at runtime.
CONFIG_LINKR_BLE_BRIDGE_BLE_NAME_FROM_MAC=y

CONFIG_LOG_BUFFER_SIZE=8192

# BlueZ caches this value and uses it on subsequent connections. The default
# 420 ms expires during short radio stalls; match the 8 s budget on WROOM/C5.
# This changes loss detection, not the connection interval or pairing gate.
CONFIG_BT_PERIPHERAL_PREF_TIMEOUT=800
```

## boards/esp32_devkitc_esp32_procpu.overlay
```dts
/*
 * Linkr Bee - ESP32-DevKitC (ESP32-WROOM-32, Xtensa dual-core)
 *
 * Pin assignments for ESP32-WROOM-32 with CH340 USB-UART:
 *   Bridge UART:  UART2 — GPIO16 (RX), GPIO17 (TX) — via CH340
 *   Console:      UART0 — GPIO1 (TX), GPIO3 (RX) — via Type-C CH340
 *   LED:          GPIO2 (active-low on most DevKitC boards)
 *   Pairing key:  GPIO4
 *   Factory reset: GPIO27 (external jumper to GND)
 */

/ {
	chosen {
		zephyr,linkr-ble-uart = &uart2;
	};

	aliases {
		led0 = &led0;
		linkr-pairing = &linkr_pairing;
		linkr-factory-reset = &linkr_factory_reset;
	};

	leds {
		compatible = "gpio-leds";

		led0: led_0 {
			gpios = <&gpio0 2 GPIO_ACTIVE_LOW>;
			label = "Activity LED";
		};
	};

	linkr_pairing_keys {
		compatible = "gpio-keys";
		linkr_pairing: pairing {
			label = "Linkr pairing authorization";
			gpios = <&gpio0 4 (GPIO_PULL_UP | GPIO_ACTIVE_LOW)>;
		};
	};

	linkr_factory_reset_keys {
		compatible = "gpio-keys";

		/* GPIO0 selects the ROM downloader at reset; use GPIO27 for recovery. */
		linkr_factory_reset: factory-reset {
			label = "Linkr factory reset";
			gpios = <&gpio0 27 (GPIO_PULL_UP | GPIO_ACTIVE_LOW)>;
		};
	};
};

&uart0 {
	status = "okay";
	current-speed = <115200>;
	pinctrl-0 = <&uart0_default>;
	pinctrl-names = "default";
};

&uart2 {
	status = "okay";
	current-speed = <115200>;
	pinctrl-0 = <&uart2_default>;
	pinctrl-names = "default";
};

/* Keep test markers out of the default coredump sector. */
&storage_partition {
	reg = <0x3b0000 0x2f000>;
};

&flash0 {
	partitions {
		linkr_test_marker_partition: partition@3df000 {
			label = "linkr-test-marker";
			reg = <0x3df000 0x1000>;
		};
	};
};

/* Enable the onboard WiFi node used by the single Linkr firmware. */
&wifi {
	status = "okay";
};
```

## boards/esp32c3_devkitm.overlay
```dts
/ {
	chosen {
		zephyr,linkr-ble-uart = &uart0;
	};

	aliases {
		linkr-pairing = &linkr_pairing;
		linkr-factory-reset = &linkr_factory_reset;
	};

	linkr_pairing_keys {
		compatible = "gpio-keys";
		linkr_pairing: pairing {
			label = "Linkr pairing authorization";
			gpios = <&gpio0 1 (GPIO_PULL_UP | GPIO_ACTIVE_LOW)>;
		};
	};

	linkr_factory_reset_keys {
		compatible = "gpio-keys";

		/* Hold GPIO0 low during boot to clear settings and configuration. */
		linkr_factory_reset: factory-reset {
			label = "Linkr factory reset";
			gpios = <&gpio0 0 (GPIO_PULL_UP | GPIO_ACTIVE_LOW)>;
		};
	};
};

/* Keep test markers out of the default coredump sector. */
&storage_partition {
	reg = <0x3b0000 0x2f000>;
};

&flash0 {
	partitions {
		linkr_test_marker_partition: partition@3df000 {
			label = "linkr-test-marker";
			reg = <0x3df000 0x1000>;
		};
	};
};
```

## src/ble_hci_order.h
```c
/* SPDX-License-Identifier: Apache-2.0 */
#pragma once
#include <zephyr/drivers/bluetooth.h>
bt_hci_recv_t linkr_hci_order_init(bt_hci_recv_t receive);
```

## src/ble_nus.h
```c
/* SPDX-License-Identifier: Apache-2.0 */
#ifndef LINKR_BLE_NUS_H
#define LINKR_BLE_NUS_H

#include <errno.h>
#include <zephyr/bluetooth/conn.h>
#include <zephyr/bluetooth/services/nus.h>

extern struct bt_nus_inst linkr_nus;
bool linkr_nus_subscribed(struct bt_conn *conn);

static inline int linkr_nus_send(struct bt_conn *conn, const void *data, uint16_t len)
{
	if (!conn || bt_conn_get_security(conn) < BT_SECURITY_L2) return -ENOTCONN;
	return bt_nus_inst_send(conn, &linkr_nus, data, len);
}

#endif
```
